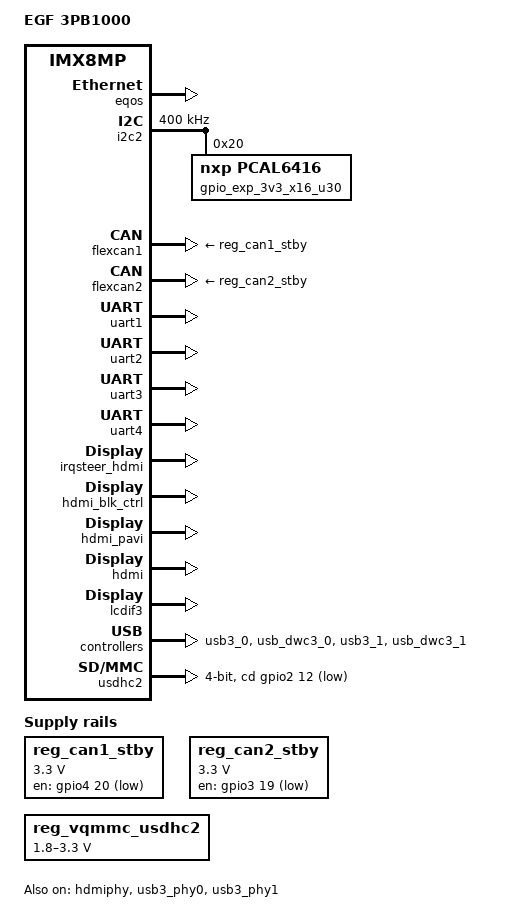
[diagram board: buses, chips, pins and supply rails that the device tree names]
// SPDX-License-Identifier: (GPL-2.0+ OR MIT)
/*
 * Copyright 2019 NXP
 */

 /dts-v1/;

 #include "imx8mp-egf-3sm2008.dtsi"
 
 / {
	 model = "EGF 3PB1000";

     reg_can1_stby: regulator-can1-stby {
        compatible = "regulator-fixed";
        regulator-name = "can1-stby";
        pinctrl-names = "default";
        pinctrl-0 = <&pinctrl_flexcan1_reg>;
        regulator-min-microvolt = <3300000>;
        regulator-max-microvolt = <3300000>;
        gpio = <&gpio4 20 GPIO_ACTIVE_HIGH>;
       
    };
    
    reg_can2_stby: regulator-can2-stby {
        compatible = "regulator-fixed";
        regulator-name = "can2-stby";
        pinctrl-names = "default";
        pinctrl-0 = <&pinctrl_flexcan2_reg>;
        regulator-min-microvolt = <3300000>;
        regulator-max-microvolt = <3300000>;
        gpio = <&gpio3 19 GPIO_ACTIVE_HIGH>;
        
    };

	reg_vqmmc_usdhc2: regulator-vqmmc-usdhc2 {
		compatible = "regulator-gpio";

		regulator-name = "usdhc2 vio";
		regulator-min-microvolt = <1800000>;
		regulator-max-microvolt = <3300000>;

		gpios = <&gpio1 3 GPIO_ACTIVE_HIGH>;
		gpios-states = <1>;
		states = <3300000 1>, <1800000 0>;
	};

 };

&eqos {
	status = "okay";
};


&fec {
	status = "disabled";
};


&i2c2 {
	clock-frequency = <400000>;
	pinctrl-names = "default";
	pinctrl-0 = <&pinctrl_i2c2>;
	status = "okay";
	gpio_exp_3v3_x16_u30: gpio@20 {
		compatible = "nxp,pcal6416";
		reg = <0x20>;
		gpio-controller;
		#gpio-cells = <2>;
	};

};


&flexcan1 {
    status = "okay";
    pinctrl-names = "default";
	pinctrl-0 = <&pinctrl_flexcan1>;
	xceiver-supply = <&reg_can1_stby>;
};

&flexcan2 {
    status = "okay";
    pinctrl-names = "default";
	pinctrl-0 = <&pinctrl_flexcan2>;
	xceiver-supply = <&reg_can2_stby>;
};


&uart1 { 
    pinctrl-names = "default";
    pinctrl-0 = <&pinctrl_uart1>;
    assigned-clocks = <&clk IMX8MP_CLK_UART1>;
    assigned-clock-parents = <&clk IMX8MP_SYS_PLL1_80M>;
    status = "okay";
};

&uart2 {
    /* console */
    pinctrl-names = "default";
    pinctrl-0 = <&pinctrl_uart2>;
    status = "okay";
};

&uart3 {
    pinctrl-names = "default";
    pinctrl-0 = <&pinctrl_uart3>;
    assigned-clocks = <&clk IMX8MP_CLK_UART3>;
    assigned-clock-parents = <&clk IMX8MP_SYS_PLL1_80M>;
    fsl,uart-has-rtscts;
    status = "okay";
};

&uart4 {
    pinctrl-names = "default";
    pinctrl-0 = <&pinctrl_uart4>;
    assigned-clocks = <&clk IMX8MP_CLK_UART4>;
    assigned-clock-parents = <&clk IMX8MP_SYS_PLL1_80M>;
    status = "okay";
};

&irqsteer_hdmi {
	status = "okay";
};

&hdmi_blk_ctrl {
	status = "okay";
};

&hdmi_pavi {
	status = "okay";
};

&hdmi {
	status = "okay";
};

&hdmiphy {
	status = "okay";
};

&lcdif1 {
	status = "disabled";
};

&lcdif2 {
	status = "disabled";
};

&lcdif3 {
	status = "okay";

	thres-low  = <1 2>;             /* (FIFO * 1 / 2) */
	thres-high = <3 4>;             /* (FIFO * 3 / 4) */
};



&usb3_phy0 {
	status = "okay";
};

&usb3_0 {
	status = "okay";
};

&usb_dwc3_0 {
	status = "okay";
};

&usb3_phy1 {
    status = "okay";
};

&usb3_1 {
	status = "okay";
};

&usb_dwc3_1 {
	// vbus-supply = <&reg_usb_vbus>;
	status = "okay";
};



// lvds_backlight: lvds_backlight {
//     compatible = "pwm-backlight";
//     pwms = <&pwm2 0 100000 0>;
//     status = "okay";

//     brightness-levels = < 0  1  2  3  4  5  6  7  8  9
//                  10 11 12 13 14 15 16 17 18 19
//                  20 21 22 23 24 25 26 27 28 29
//                  30 31 32 33 34 35 36 37 38 39
//                  40 41 42 43 44 45 46 47 48 49
//                  50 51 52 53 54 55 56 57 58 59
//                  60 61 62 63 64 65 66 67 68 69
//                  70 71 72 73 74 75 76 77 78 79
//                  80 81 82 83 84 85 86 87 88 89
//                  90 91 92 93 94 95 96 97 98 99
//                 100>;
//     default-brightness-level = <80>;
// };

// &sai2 {
// 	#sound-dai-cells = <0>;
// 	pinctrl-names = "default";
// 	pinctrl-0 = <&pinctrl_sai2>;
// 	assigned-clocks = <&clk IMX8MP_CLK_SAI2>;
// 	assigned-clock-parents = <&clk IMX8MP_AUDIO_PLL1_OUT>;
// 	assigned-clock-rates = <12288000>;
// 	fsl,sai-mclk-direction-output;
// 	status = "okay";
// };

// &easrc {
// 	fsl,asrc-rate  = <48000>;
// 	status = "okay";
// };

// &micfil {
// 	#sound-dai-cells = <0>;
// 	pinctrl-names = "default";
// 	pinctrl-0 = <&pinctrl_pdm>;
// 	assigned-clocks = <&clk IMX8MP_CLK_PDM>;
// 	assigned-clock-parents = <&clk IMX8MP_AUDIO_PLL1_OUT>;
// 	assigned-clock-rates = <196608000>;
// 	status = "okay";
// };

// &sai3 {
// 	pinctrl-names = "default";
// 	pinctrl-0 = <&pinctrl_sai3>;
// 	assigned-clocks = <&clk IMX8MP_CLK_SAI3>;
// 	assigned-clock-parents = <&clk IMX8MP_AUDIO_PLL1_OUT>;
// 	assigned-clock-rates = <12288000>;
// 	clocks = <&audio_blk_ctrl IMX8MP_CLK_AUDIOMIX_SAI3_IPG>, <&clk IMX8MP_CLK_DUMMY>,
// 		 <&audio_blk_ctrl IMX8MP_CLK_AUDIOMIX_SAI3_MCLK1>, <&clk IMX8MP_CLK_DUMMY>,
// 		 <&clk IMX8MP_CLK_DUMMY>;
// 	clock-names = "bus", "mclk0", "mclk1", "mclk2", "mclk3";
// 	fsl,sai-mclk-direction-output;
// 	status = "okay";
// };

// &xcvr {
// 	#sound-dai-cells = <0>;
// 	status = "okay";
// };





&usdhc2 {
	assigned-clocks = <&clk IMX8MP_CLK_USDHC2>;
	assigned-clock-rates = <400000000>;
	pinctrl-names = "default", "state_100mhz", "state_200mhz";
	pinctrl-0 = <&pinctrl_usdhc2>, <&pinctrl_usdhc2_gpio>;
	pinctrl-1 = <&pinctrl_usdhc2_100mhz>, <&pinctrl_usdhc2_gpio>;
	pinctrl-2 = <&pinctrl_usdhc2_200mhz>, <&pinctrl_usdhc2_gpio>;
	cd-gpios = <&gpio2 12 GPIO_ACTIVE_LOW>;
	vqmmc-supply = <&reg_vqmmc_usdhc2>;
	max-frequency = <50000000>; // issues when switching to 1.8V
	bus-width = <4>;
	status = "okay";
};

&iomuxc {
	pinctrl-names = "default";
	pinctrl-0 = <&pinctrl_hog>;


    pinctrl_flexcan1_reg: flexcan1reggrp {
        fsl,pins = <
            MX8MP_IOMUXC_SAI1_MCLK__GPIO4_IO20  0x154   /* CAN1_STBY */
        >;
    };

    pinctrl_flexcan2_reg: flexcan2reggrp {
        fsl,pins = <
            MX8MP_IOMUXC_SAI5_RXFS__GPIO3_IO19      0x154   /* CAN2_STBY */
        >;
    };

    pinctrl_flexcan1: flexcan1grp {
        fsl,pins = <
            MX8MP_IOMUXC_SAI5_RXD1__CAN1_TX          0x154
            MX8MP_IOMUXC_SAI5_RXD2__CAN1_RX          0x154
        >;
    };

	pinctrl_flexcan2: flexcan2grp {
		fsl,pins = <
			MX8MP_IOMUXC_SAI5_MCLK__CAN2_RX         0x154
			MX8MP_IOMUXC_SAI5_RXD3__CAN2_TX         0x154
		>;
	};


// 	pinctrl_sai2: sai2grp {
// 		fsl,pins = <
// 			MX8MP_IOMUXC_SAI2_TXC__AUDIOMIX_SAI2_TX_BCLK	0xd6
// 			MX8MP_IOMUXC_SAI2_TXFS__AUDIOMIX_SAI2_TX_SYNC	0xd6
// 			MX8MP_IOMUXC_SAI2_TXD0__AUDIOMIX_SAI2_TX_DATA00	0xd6
// 			MX8MP_IOMUXC_SAI2_RXD0__AUDIOMIX_SAI2_RX_DATA00	0xd6
// 		>;
// 	};

// 	pinctrl_sai3: sai3grp {
// 		fsl,pins = <
// 			MX8MP_IOMUXC_SAI3_TXFS__AUDIOMIX_SAI3_TX_SYNC	0xd6
// 			MX8MP_IOMUXC_SAI3_TXC__AUDIOMIX_SAI3_TX_BCLK	0xd6
// 			MX8MP_IOMUXC_SAI3_RXD__AUDIOMIX_SAI3_RX_DATA00	0xd6
// 			MX8MP_IOMUXC_SAI3_TXD__AUDIOMIX_SAI3_TX_DATA00	0xd6
// 			MX8MP_IOMUXC_SAI3_MCLK__AUDIOMIX_SAI3_MCLK	0xd6
// 			MX8MP_IOMUXC_SAI3_RXFS__GPIO4_IO28		0xd6
// 			MX8MP_IOMUXC_SAI3_RXC__GPIO4_IO29		0xd6
// 		>;
// 	};

// 	pinctrl_pdm: pdmgrp {
// 		fsl,pins = <
// 			MX8MP_IOMUXC_SAI5_RXC__AUDIOMIX_PDM_CLK		0xd6
// 			MX8MP_IOMUXC_SAI5_RXD0__AUDIOMIX_PDM_BIT_STREAM00	0xd6
// 			MX8MP_IOMUXC_SAI5_RXD1__AUDIOMIX_PDM_BIT_STREAM01	0xd6
// 			MX8MP_IOMUXC_SAI5_RXD2__AUDIOMIX_PDM_BIT_STREAM02	0xd6
// 			MX8MP_IOMUXC_SAI5_RXD3__AUDIOMIX_PDM_BIT_STREAM03	0xd6
// 		>;
// 	};

	pinctrl_uart1: uart1grp {
		fsl,pins = <
			MX8MP_IOMUXC_UART1_RXD__UART1_DCE_RX	0x140
			MX8MP_IOMUXC_UART1_TXD__UART1_DCE_TX	0x140
			MX8MP_IOMUXC_UART3_RXD__UART1_DCE_CTS	0x140
			MX8MP_IOMUXC_UART3_TXD__UART1_DCE_RTS	0x140
		>;
	};

	pinctrl_uart2: uart2grp {
		fsl,pins = <
			MX8MP_IOMUXC_UART2_RXD__UART2_DCE_RX	0x140
			MX8MP_IOMUXC_UART2_TXD__UART2_DCE_TX	0x140
		>;
	};

	pinctrl_uart3: uart3grp {
		fsl,pins = <
			MX8MP_IOMUXC_ECSPI1_SCLK__UART3_DCE_RX		0x140
			MX8MP_IOMUXC_ECSPI1_MOSI__UART3_DCE_TX		0x140
			MX8MP_IOMUXC_ECSPI1_SS0__UART3_DCE_RTS		0x140
			MX8MP_IOMUXC_ECSPI1_MISO__UART3_DCE_CTS		0x140
		>;
	};

    pinctrl_uart4: uart4grp {
		fsl,pins = <
			MX8MP_IOMUXC_UART4_RXD__UART4_DCE_RX	0x140
			MX8MP_IOMUXC_UART4_TXD__UART4_DCE_TX	0x140
		>;
	};

	pinctrl_usdhc2: usdhc2grp {
		fsl,pins = <
			MX8MP_IOMUXC_SD2_CLK__USDHC2_CLK	0x190
			MX8MP_IOMUXC_SD2_CMD__USDHC2_CMD	0x1d0
			MX8MP_IOMUXC_SD2_DATA0__USDHC2_DATA0	0x1d0
			MX8MP_IOMUXC_SD2_DATA1__USDHC2_DATA1	0x1d0
			MX8MP_IOMUXC_SD2_DATA2__USDHC2_DATA2	0x1d0
			MX8MP_IOMUXC_SD2_DATA3__USDHC2_DATA3	0x1d0
		>;
	};

	pinctrl_usdhc2_100mhz: usdhc2-100mhzgrp {
		fsl,pins = <
			MX8MP_IOMUXC_SD2_CLK__USDHC2_CLK	0x194
			MX8MP_IOMUXC_SD2_CMD__USDHC2_CMD	0x1d4
			MX8MP_IOMUXC_SD2_DATA0__USDHC2_DATA0	0x1d4
			MX8MP_IOMUXC_SD2_DATA1__USDHC2_DATA1	0x1d4
			MX8MP_IOMUXC_SD2_DATA2__USDHC2_DATA2	0x1d4
			MX8MP_IOMUXC_SD2_DATA3__USDHC2_DATA3	0x1d4			
		>;
	};

	pinctrl_usdhc2_200mhz: usdhc2-200mhzgrp {
		fsl,pins = <
			MX8MP_IOMUXC_SD2_CLK__USDHC2_CLK	0x196
			MX8MP_IOMUXC_SD2_CMD__USDHC2_CMD	0x1d6
			MX8MP_IOMUXC_SD2_DATA0__USDHC2_DATA0	0x1d6
			MX8MP_IOMUXC_SD2_DATA1__USDHC2_DATA1	0x1d6
			MX8MP_IOMUXC_SD2_DATA2__USDHC2_DATA2	0x1d6
			MX8MP_IOMUXC_SD2_DATA3__USDHC2_DATA3	0x1d6
		>;
	};

	pinctrl_usdhc2_gpio: usdhc2gpiogrp {
		fsl,pins = <
			MX8MP_IOMUXC_SD2_CD_B__GPIO2_IO12	0x1c4
		>;
	};
};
